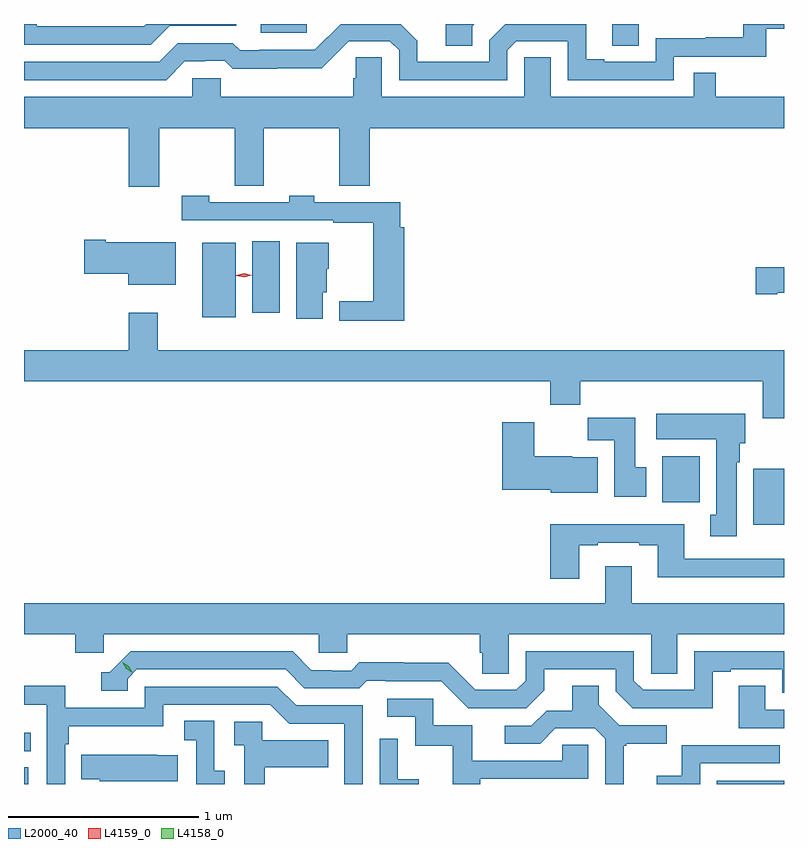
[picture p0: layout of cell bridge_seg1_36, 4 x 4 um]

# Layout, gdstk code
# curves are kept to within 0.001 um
import gdstk
lib = gdstk.Library(unit=1e-6, precision=1e-09)
def R(c, l, rs):  # rectangles x0, y0, x1, y1
    for r in rs: c.add(gdstk.rectangle(r[:2], r[2:], *l))
def P(c, l, *ps):  # polygons
    for p in ps: c.add(gdstk.Polygon(p, *l))
L2000_40 = (2000, 40)
L4158_0 = (4158, 0)
L4159_0 = (4159, 0)

bridge_seg1_36 = lib.new_cell('bridge_seg1_36')
R(bridge_seg1_36, L2000_40, [(975.558,572.256,975.58,572.343), (979.204,572.256,979.558,572.274), (975.558,572.428,975.593,572.527), (979.397,573.62,979.558,573.916), (978.917,573.74,979.114,573.982), (976.496,574.712,976.672,575.104), (976.76,574.737,976.903,575.113), (978.653,576.142,978.793,576.256), (976.803,576.21,977.046,576.256)])
P(bridge_seg1_36, L2000_40, [(976.405,576.06),(976.512,576.06),(976.512,576.063),(976.615,576.063),(976.657,576.021),(976.89,576.021),(976.89,576.023),(977.126,576.023),(977.268,576.165),(977.484,576.165),(977.532,576.117),(977.532,575.961),(978.102,575.961),(978.102,576.117),(978.15,576.165),(978.42,576.165),(978.42,575.961),(978.978,575.961),(978.978,576.084),(979.465,576.084),(979.465,576.231),(979.558,576.231),(979.558,576.256),(979.344,576.256),(979.344,576.185),(979.147,576.185),(979.147,576.18),(978.882,576.18),(978.882,576.057),(978.613,576.057),(978.613,576.07),(978.517,576.07),(978.517,576.256),(978.091,576.256),(978.006,576.171),(978.006,576.057),(977.629,576.057),(977.629,576.167),(977.54,576.256),(977.224,576.256),(977.088,576.12),(976.795,576.12),(976.795,576.117),(976.696,576.117),(976.657,576.156),(976.368,576.156),(976.269,576.057),(975.558,576.057),(975.558,575.961),(976.306,575.961)],
  [(977.917,576.244),(977.929,576.256),(977.777,576.256),(977.777,576.142),(977.917,576.142)],
  [(976.324,576.246),(976.674,576.246),(976.674,576.256),(976.201,576.256),(976.188,576.243),(975.624,576.243),(975.624,576.256),(975.558,576.256),(975.558,576.147),(976.225,576.147)],
  [(976.269,575.708),(976.666,575.708),(976.666,575.404),(976.82,575.404),(976.82,575.708),(977.218,575.708),(977.218,575.404),(977.378,575.404),(977.378,575.708),(979.558,575.708),(979.558,575.872),(979.199,575.872),(979.199,575.999),(979.083,575.999),(979.083,575.872),(978.331,575.872),(978.331,576.08),(978.192,576.08),(978.192,575.872),(977.442,575.872),(977.442,576.08),(977.305,576.08),(977.305,575.97),(977.291,575.97),(977.291,575.872),(976.593,575.872),(976.593,575.97),(976.443,575.97),(976.443,575.872),(975.558,575.872),(975.558,575.708),(976.109,575.708),(976.109,575.4),(976.269,575.4)],
  [(977.56,575.185),(977.537,575.185),(977.537,575.319),(977.085,575.319),(977.085,575.352),(976.953,575.352),(976.953,575.319),(976.533,575.319),(976.533,575.352),(976.389,575.352),(976.389,575.223),(977.185,575.223),(977.185,575.211),(977.396,575.211),(977.396,574.796),(977.217,574.796),(977.217,574.694),(977.56,574.694)],
  [(976.357,575.107),(975.988,575.107),(975.988,575.12),(975.876,575.12),(975.876,574.942),(976.106,574.942),(976.106,574.883),(976.357,574.883)],
  [(977.131,574.845),(977.152,574.845),(977.152,574.968),(977.161,574.968),(977.161,575.104),(976.991,575.104),(976.991,574.704),(977.131,574.704)],
  [(979.522,574.841),(979.558,574.841),(979.558,574.976),(979.41,574.976),(979.41,574.834),(979.522,574.834)],
  [(979.558,574.54),(976.261,574.54),(976.261,574.735),(976.109,574.735),(976.109,574.54),(975.558,574.54),(975.558,574.376),(978.329,574.376),(978.329,574.252),(978.485,574.252),(978.485,574.376),(979.445,574.376),(979.445,574.182),(979.558,574.182)],
  [(979.309,573.95),(979.324,573.95),(979.324,574.05),(979.354,574.05),(979.354,574.204),(978.885,574.204),(978.885,574.07),(979.202,574.07),(979.202,573.674),(979.169,573.674),(979.169,573.561),(979.309,573.561)],
  [(978.832,573.924),(978.775,573.924),(978.775,574.183),(978.526,574.183),(978.526,574.064),(978.665,574.064),(978.665,573.768),(978.832,573.768)],
  [(978.577,573.976),(978.444,573.976),(978.444,573.982),(978.244,573.982),(978.244,574.159),(978.074,574.159),(978.074,573.806),(978.33,573.806),(978.33,573.788),(978.577,573.788)],
  [(978.481,573.513),(978.577,573.513),(978.577,573.525),(978.797,573.525),(978.797,573.513),(978.893,573.513),(978.893,573.344),(979.558,573.344),(979.558,573.441),(979.033,573.441),(979.033,573.622),(978.329,573.622),(978.329,573.336),(978.481,573.336)],
  [(978.108,573.044),(978.858,573.044),(978.858,572.836),(978.997,572.836),(978.997,573.044),(979.558,573.044),(979.558,573.208),(978.757,573.208),(978.757,573.403),(978.617,573.403),(978.617,573.208),(975.558,573.208),(975.558,573.044),(975.827,573.044),(975.827,572.946),(975.978,572.946),(975.978,573.044),(977.109,573.044),(977.109,572.946),(977.259,572.946),(977.259,573.044),(977.957,573.044),(977.957,572.946),(977.971,572.946),(977.971,572.836),(978.108,572.836)],
  [(979.183,572.847),(979.279,572.847),(979.279,572.859),(979.548,572.859),(979.548,572.736),(979.558,572.736),(979.558,572.955),(979.086,572.955),(979.086,572.751),(978.816,572.751),(978.768,572.799),(978.768,572.955),(978.198,572.955),(978.198,572.799),(978.15,572.751),(977.934,572.751),(977.792,572.893),(977.556,572.893),(977.556,572.896),(977.323,572.896),(977.281,572.853),(977.178,572.853),(977.178,572.856),(977.071,572.856),(976.972,572.955),(976.119,572.955),(976.008,572.844),(975.965,572.844),(975.965,572.748),(976.104,572.748),(976.104,572.811),(976.152,572.859),(976.935,572.859),(977.034,572.76),(977.323,572.76),(977.362,572.799),(977.461,572.799),(977.461,572.796),(977.754,572.796),(977.895,572.655),(978.201,572.655),(978.295,572.749),(978.295,572.859),(978.672,572.859),(978.672,572.745),(978.762,572.655),(979.183,572.654)],
  [(978.715,572.457),(978.727,572.457),(978.727,572.468),(978.94,572.468),(978.94,572.565),(978.69,572.565),(978.583,572.672),(978.583,572.774),(978.443,572.774),(978.443,572.642),(978.308,572.642),(978.228,572.562),(978.087,572.562),(978.087,572.469),(978.274,572.469),(978.355,572.55),(978.561,572.55),(978.618,572.493),(978.618,572.256),(978.715,572.256)],
  [(975.774,572.465),(975.794,572.465),(975.794,572.561),(976.29,572.561),(976.29,572.673),(976.854,572.673),(976.953,572.574),(977.244,572.574),(977.244,572.256),(977.34,572.256),(977.34,572.67),(976.99,572.67),(976.891,572.769),(976.194,572.769),(976.194,572.658),(975.776,572.658),(975.776,572.774),(975.558,572.774),(975.558,572.672),(975.678,572.672),(975.678,572.256),(975.774,572.256)],
  [(979.558,572.646),(979.459,572.646),(979.459,572.774),(979.319,572.774),(979.319,572.55),(979.558,572.55)],
  [(977.959,572.283),(978.528,572.283),(978.528,572.463),(978.391,572.463),(978.391,572.379),(977.917,572.379),(977.917,572.565),(977.712,572.565),(977.712,572.706),(977.469,572.706),(977.469,572.61),(977.616,572.61),(977.616,572.457),(977.815,572.457),(977.815,572.256),(977.959,572.256)],
  [(976.615,572.325),(976.56,572.325),(976.56,572.588),(976.401,572.588),(976.401,572.485),(976.464,572.485),(976.464,572.256),(976.615,572.256)],
  [(976.825,572.345),(977.159,572.345),(977.159,572.485),(976.812,572.485),(976.812,572.583),(976.665,572.583),(976.665,572.459),(976.716,572.459),(976.716,572.256),(976.825,572.256)],
  [(977.636,572.282),(977.526,572.282),(977.526,572.494),(977.43,572.494),(977.43,572.256),(977.636,572.256)],
  [(979.116,572.364),(979.535,572.364),(979.535,572.46),(979.02,572.46),(979.02,572.299),(978.887,572.299),(978.887,572.256),(979.116,572.256)],
  [(976.367,572.407),(976.259,572.407),(976.259,572.41),(975.859,572.41),(975.859,572.281),(975.957,572.281),(975.957,572.27),(976.367,572.27)])
P(bridge_seg1_36, L4158_0, [(976.126,572.844),(976.095,572.863),(976.079,572.895),(976.079,572.896),(976.079,572.896),(976.11,572.876),(976.127,572.844),(976.127,572.844)])
P(bridge_seg1_36, L4159_0, [(976.717,574.923),(976.676,574.932),(976.676,574.932),(976.676,574.933),(976.716,574.943),(976.757,574.934),(976.757,574.933),(976.757,574.933)])

lib.write_gds('bridge_seg1_36.gds')
